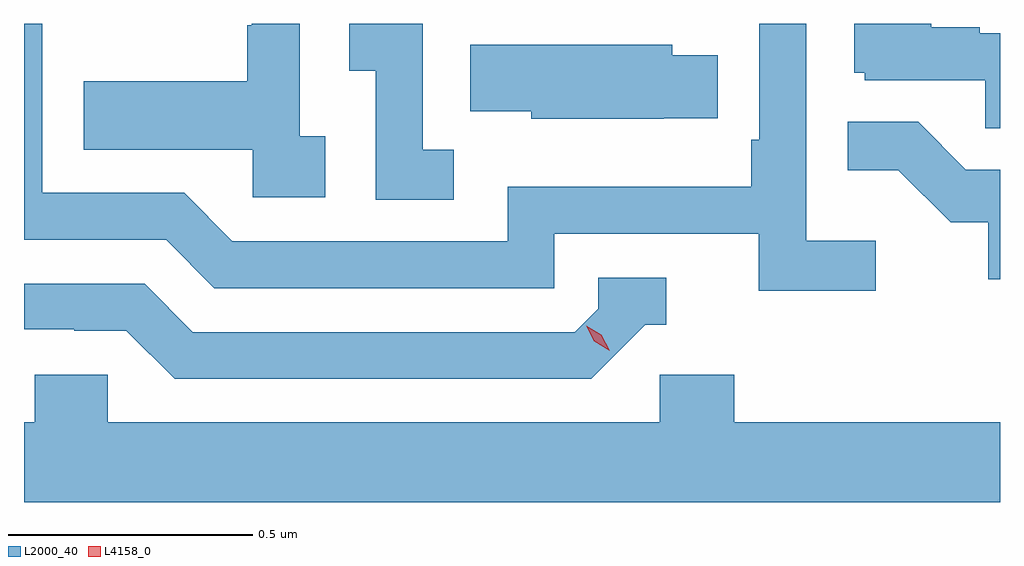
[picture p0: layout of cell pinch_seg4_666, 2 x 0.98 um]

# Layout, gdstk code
import gdstk
lib = gdstk.Library(unit=1e-6, precision=1e-09)
def P(c, l, *ps):  # polygons
    for p in ps: c.add(gdstk.Polygon(p, *l))
L2000_40 = (2000, 40)
L4158_0 = (4158, 0)

pinch_seg4_666 = lib.new_cell('pinch_seg4_666')
P(pinch_seg4_666, L2000_40, [(1058.305,768.477),(1058.264,768.477),(1058.264,768.49),(1058.164,768.49),(1058.164,768.497),(1058.006,768.497),(1058.006,768.396),(1058.028,768.396),(1058.028,768.381),(1058.275,768.381),(1058.275,768.283),(1058.305,768.283)],
  [(1058.05,768.052),(1057.908,768.052),(1057.908,768.497),(1057.812,768.497),(1057.812,768.259),(1057.795,768.259),(1057.795,768.163),(1057.296,768.163),(1057.296,768.051),(1056.732,768.051),(1056.633,768.15),(1056.342,768.15),(1056.342,768.497),(1056.305,768.497),(1056.305,768.054),(1056.596,768.054),(1056.695,767.955),(1057.392,767.955),(1057.392,768.066),(1057.811,768.066),(1057.811,767.95),(1058.05,767.95)],
  [(1056.922,768.266),(1056.87,768.266),(1056.87,768.497),(1056.772,768.497),(1056.772,768.494),(1056.762,768.494),(1056.762,768.379),(1056.427,768.379),(1056.427,768.239),(1056.774,768.239),(1056.774,768.141),(1056.922,768.141)],
  [(1057.186,768.239),(1057.122,768.239),(1057.122,768.497),(1056.971,768.497),(1056.971,768.4),(1057.026,768.4),(1057.026,768.136),(1057.186,768.136)],
  [(1057.616,768.303),(1057.727,768.303),(1057.727,768.432),(1057.633,768.432),(1057.633,768.454),(1057.219,768.454),(1057.219,768.317),(1057.344,768.317),(1057.344,768.302),(1057.616,768.302)],
  [(1058.305,768.198),(1058.235,768.198),(1058.137,768.296),(1057.993,768.296),(1057.993,768.197),(1058.097,768.197),(1058.204,768.09),(1058.281,768.09),(1058.281,767.973),(1058.305,767.973)],
  [(1057.578,767.88),(1057.621,767.88),(1057.621,767.976),(1057.482,767.976),(1057.482,767.913),(1057.434,767.865),(1056.651,767.865),(1056.552,767.964),(1056.305,767.964),(1056.305,767.871),(1056.408,767.871),(1056.408,767.868),(1056.515,767.868),(1056.614,767.769),(1057.467,767.769)],
  [(1058.305,767.68),(1057.76,767.68),(1057.76,767.778),(1057.608,767.778),(1057.608,767.68),(1056.477,767.68),(1056.477,767.778),(1056.327,767.778),(1056.327,767.68),(1056.305,767.68),(1056.305,767.516),(1058.305,767.516)])
P(pinch_seg4_666, L4158_0, [(1057.505,767.827),(1057.474,767.846),(1057.457,767.878),(1057.457,767.878),(1057.457,767.878),(1057.488,767.859),(1057.505,767.827),(1057.505,767.827)])

lib.write_gds('pinch_seg4_666.gds')
